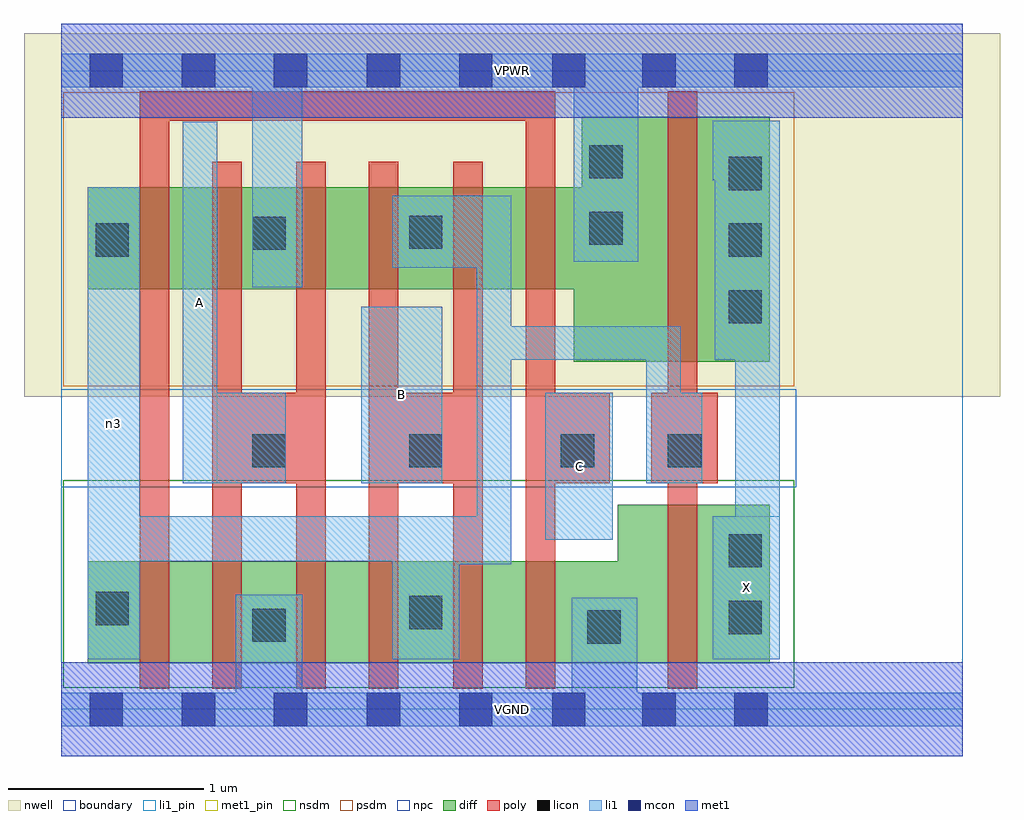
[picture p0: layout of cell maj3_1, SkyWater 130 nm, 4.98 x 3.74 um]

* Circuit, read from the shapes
.subckt maj3_1 A B C VGND VPWR X n3
XM1 n1 C n3 VSUBS sky130_fd_pr__nfet_01v8 w=0.52 l=0.15
XM2 VGND A n1 VSUBS sky130_fd_pr__nfet_01v8 w=0.52 l=0.15
XM3 n2 A VGND VSUBS sky130_fd_pr__nfet_01v8 w=0.52 l=0.15
XM4 n3 B n2 VSUBS sky130_fd_pr__nfet_01v8 w=0.52 l=0.15
XM5 n4 B n3 VSUBS sky130_fd_pr__nfet_01v8 w=0.52 l=0.15
XM6 VGND C n4 VSUBS sky130_fd_pr__nfet_01v8 w=0.52 l=0.15
XM7 X n3 VGND VSUBS sky130_fd_pr__nfet_01v8 w=0.81 l=0.15
XM8 n5 C n3 n6 sky130_fd_pr__pfet_01v8 w=0.52 l=0.15
XM9 VPWR A n5 n6 sky130_fd_pr__pfet_01v8 w=0.52 l=0.15
XM10 n7 A VPWR n6 sky130_fd_pr__pfet_01v8 w=0.52 l=0.15
XM11 n3 B n7 n6 sky130_fd_pr__pfet_01v8 w=0.52 l=0.15
XM12 n8 B n3 n6 sky130_fd_pr__pfet_01v8 w=0.52 l=0.15
XM13 VPWR C n8 n6 sky130_fd_pr__pfet_01v8 w=0.52 l=0.15
XM14 X n3 VPWR n6 sky130_fd_pr__pfet_01v8 w=1.25 l=0.15
.ends

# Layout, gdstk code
import gdstk
lib = gdstk.Library(unit=1e-6, precision=1e-09)
def R(c, l, rs):  # rectangles x0, y0, x1, y1
    for r in rs: c.add(gdstk.rectangle(r[:2], r[2:], *l))
def A(c, l, x, y, w, h, nx, ny, dx, dy):  # array of equal rectangles
    R(c, l, [(x+i*dx, y+j*dy, x+i*dx+w, y+j*dy+h) for i in range(nx) for j in range(ny)])
nwell = (64, 20)
diff = (65, 20)
poly = (66, 20)
licon = (66, 44)
li1_pin = (67, 16)
li1 = (67, 20)
mcon = (67, 44)
met1_pin = (68, 16)
met1 = (68, 20)
nsdm = (93, 44)
psdm = (94, 20)
npc = (95, 20)
boundary = (235, 4)

maj3_1 = lib.new_cell('maj3_1')
R(maj3_1, nwell, [(-0.19,1.595,4.79,3.45), (0,1.595,4.6,3.45)])
R(maj3_1, diff, [(0.135,0.235,3.615,0.755), (2.84,0.235,3.615,1.045), (2.615,1.775,3.615,2.665), (2.655,1.775,3.615,3.025), (0.135,2.145,3.615,2.665)])
R(maj3_1, poly, [(0.4,0.105,0.55,3.155), (0.77,0.105,0.92,2.795), (1.2,0.105,1.35,2.795), (1.57,0.105,1.72,2.795), (2,0.105,2.15,2.795), (2.37,0.105,2.52,3.155), (3.095,0.105,3.245,3.155), (0.77,1.155,1.35,1.615), (1.57,1.155,2.15,1.615), (2.37,1.155,2.8,1.615), (3.01,1.155,3.35,1.615), (0.4,3.005,2.52,3.155)])
A(maj3_1, licon, 3.405, 1.97, 0.17, 0.17, 1, 3, 0, 0.34)
R(maj3_1, licon, [(2.685,0.335,2.855,0.505), (0.975,0.345,1.145,0.515), (3.405,0.385,3.575,0.555), (1.775,0.41,1.945,0.58), (0.175,0.43,0.345,0.6), (3.405,0.725,3.575,0.895), (0.975,1.235,1.145,1.405), (1.775,1.235,1.945,1.405), (2.55,1.235,2.72,1.405), (3.095,1.235,3.265,1.405), (0.175,2.31,0.345,2.48), (0.975,2.345,1.145,2.515), (1.775,2.35,1.945,2.52), (2.695,2.37,2.865,2.54), (2.695,2.71,2.865,2.88)])
R(maj3_1, li1_pin, [(3.325,0.255,3.665,0.985), (2.47,0.865,2.815,1.615), (0.62,1.155,0.795,3), (1.53,1.155,1.945,2.055)])
R(maj3_1, li1, [(0,-0.085,4.6,0.085), (0.89,-0.085,1.23,0.585), (2.605,-0.085,2.94,0.57), (0.135,0.255,0.4,2.665), (1.69,0.255,2.03,0.985), (3.325,0.255,3.665,0.985), (3.44,0.255,3.665,3.005), (1.69,0.74,2.295,0.985), (2.12,0.74,2.295,2.62), (0.135,0.755,2.295,0.985), (2.47,0.865,2.815,1.615), (0.62,1.155,0.795,3), (0.62,1.155,1.145,1.615), (1.53,1.155,1.945,2.055), (2.985,1.155,3.27,1.615), (2.985,1.155,3.16,1.955), (2.12,1.785,3.16,1.955), (3.335,1.785,3.665,3.005), (0.975,2.155,1.23,3.345), (1.69,2.255,2.295,2.62), (2.615,2.285,2.945,3.345), (3.325,2.7,3.665,3.005), (0,3.175,4.6,3.345)])
A(maj3_1, mcon, 0.145, -0.085, 0.17, 0.17, 3, 2, 0.47, 3.26)
R(maj3_1, mcon, [(1.56,-0.085,1.73,0.085), (2.03,-0.085,2.2,0.085), (2.505,-0.085,2.675,0.085), (2.965,-0.085,3.135,0.085), (3.435,-0.085,3.605,0.085), (1.56,3.175,1.73,3.345), (2.03,3.175,2.2,3.345), (2.505,3.175,2.675,3.345), (2.965,3.175,3.135,3.345), (3.435,3.175,3.605,3.345)])
R(maj3_1, met1_pin, [(0,-0.24,4.6,0.24), (0,3.02,4.6,3.5)])
R(maj3_1, met1, [(0,-0.24,4.6,0.24), (0,3.02,4.6,3.5)])
R(maj3_1, nsdm, [(0.01,0.11,3.74,1.17)])
R(maj3_1, psdm, [(0.01,1.65,3.74,3.15)])
R(maj3_1, npc, [(0,1.135,3.75,1.635)])
R(maj3_1, boundary, [(0,0,4.6,3.26)])
maj3_1.add(gdstk.Label('A', (0.707,2.077), layer=67, texttype=5))
maj3_1.add(gdstk.Label('B', (1.737,1.605), layer=67, texttype=5))
maj3_1.add(gdstk.Label('C', (2.642,1.24), layer=67, texttype=5))
maj3_1.add(gdstk.Label('X', (3.495,0.62), layer=67, texttype=5))
maj3_1.add(gdstk.Label('n3', (0.267,1.46), layer=67, texttype=5))
maj3_1.add(gdstk.Label('VPWR', (2.3,3.26), layer=68, texttype=5))
maj3_1.add(gdstk.Label('VGND', (2.3,0), layer=68, texttype=5))
maj3_1.add(gdstk.Label('A', (0.707,2.077), layer=67, texttype=16))
maj3_1.add(gdstk.Label('B', (1.737,1.605), layer=67, texttype=16))
maj3_1.add(gdstk.Label('C', (2.642,1.24), layer=67, texttype=16))
maj3_1.add(gdstk.Label('X', (3.495,0.62), layer=67, texttype=16))
maj3_1.add(gdstk.Label('VPWR', (2.3,3.26), layer=68, texttype=16))
maj3_1.add(gdstk.Label('VGND', (2.3,0), layer=68, texttype=16))

lib.write_gds('maj3_1.gds')
